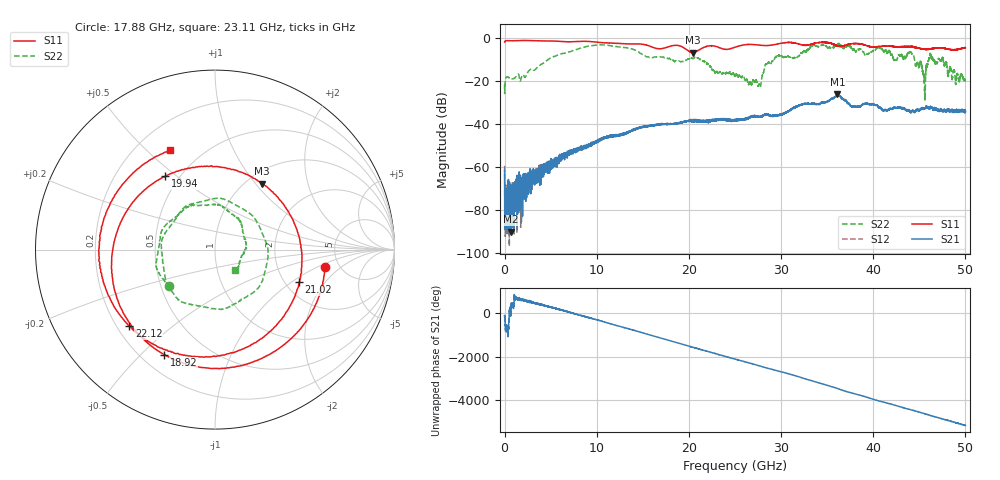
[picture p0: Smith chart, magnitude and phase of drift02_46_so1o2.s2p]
!Created with skrf (http://scikit-rf.org).
# Hz S RI R 50.0
!freq ReS11 ImS11 ReS21 ImS21 ReS12 ImS12 ReS22 ImS22
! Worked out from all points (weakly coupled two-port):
!   10001 points, 300 kHz to 50 GHz, reference 50 ohm
!   highest |S21| = -26.31 dB at 36.11 GHz (marker M1); lowest = -89.9 dB at 725.3 MHz (marker M2)
!   lowest |S11| = -6.9 dB at 20.44 GHz (marker M3), VSWR 2.64, Z = 58.7 + j54 ohm
!   |S11| at or under -10 dB: nowhere
!   |S22| runs from -29.1 to -2.6 dB; largest |S21 - S12| = 0.0048
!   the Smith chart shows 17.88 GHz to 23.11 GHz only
!   S11 on the Smith chart (normalised r, x): 17.88 GHz: 3.85, -1.24; 18.92 GHz: 0.29, -0.59; 19.94 GHz: 0.42, +0.45; 21.02 GHz: 2.37, -1.16; 22.12 GHz: 0.25, -0.36; 23.11 GHz: 0.34, +0.59
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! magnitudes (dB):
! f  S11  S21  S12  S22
! 300 kHz  -2.1  -61.6  -59.4  -21.6
! 255.3 MHz  -1.4  -84.1  -78.5  -18.2
! 725.3 MHz  -1.5  -89.9  -79.9  -19.1
! 8.335 GHz  -1.7  -50.8  -50.9  -4.7
! 16.67 GHz  -5.2  -40.2  -40.3  -9.0
! 17.88 GHz  -4.1  -40.3  -40.1  -9.7
! 18.92 GHz  -3.7  -39.6  -39.6  -10.8
! 19.94 GHz  -6.1  -38.6  -38.5  -9.8
! 20.44 GHz  -6.9  -38.1  -38.3  -9.8
! 21.02 GHz  -6.0  -38.2  -38.5  -9.4
! 22.12 GHz  -3.9  -38.5  -38.8  -12.7
! 23.11 GHz  -4.3  -38.0  -37.7  -16.0
! 25 GHz  -4.5  -38.3  -38.4  -17.7
! 27.63 GHz  -3.5  -36.8  -36.6  -21.5
! 29.54 GHz  -3.0  -35.7  -36.1  -8.8
! 33.34 GHz  -3.0  -30.5  -30.7  -3.8
! 36.11 GHz  -4.0  -26.3  -26.8  -3.3
! 41.67 GHz  -3.9  -33.4  -33.3  -6.0
! 44.14 GHz  -4.2  -34.4  -34.3  -7.1
! 45.51 GHz  -5.4  -32.8  -33.2  -17.6
! 46.27 GHz  -5.2  -32.3  -32.0  -9.2
! 50 GHz  -4.7  -34.1  -34.2  -19.7
